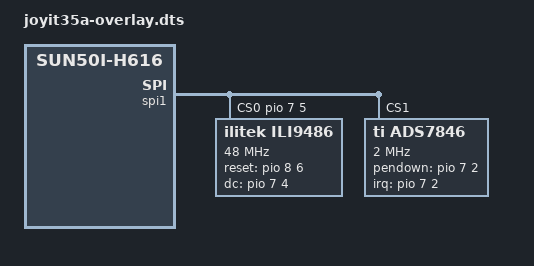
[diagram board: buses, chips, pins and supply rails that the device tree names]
/dts-v1/;
/plugin/;
/ {
    compatible = "allwinner,sun50i-h616";
    fragment@0 {
        target = <&spi1>;
        __overlay__ {
            status = "okay";
	    cs-gpios = <&pio 7 5 0>; /*PH5=CS0 PH9=CS1*/
            ili9486: ili9486@1 {
                compatible = "ilitek,ili9486";
                reg = <0>;
                pinctrl-names = "default";
                spi-max-frequency = <48000000>;
                rotation = <180>;
                bgr = <0>;
                fps = <30>;
                buswidth = <8>;
                reset-gpios = <&pio 8 6 0>; /* PI6 */
                dc-gpios = <&pio 7 4 0>; /* PH4 */
                debug = <0>;
                init = <0x10000b0 0x00 0x1000011 0x20000ff 0x100003a 0x55 0x1000036 0x28 0x10000c2 0x44 0x10000c5 0x00 0x00 0x00 0x00 0x10000e0 0x0f 0x1f 0x1c 0x0c 0x0f 0x08 0x48 0x98 0x37 0x0a 0x13 0x04 0x11 0x0d 0x00 0x10000e1 0x0f 0x32 0x2e 0x0b 0x0d 0x05 0x47 0x75 0x37 0x06 0x10 0x03 0x24 0x20 0x00 0x10000e2 0x0f 0x32 0x2e 0x0b 0x0d 0x05 0x47 0x75 0x37 0x06 0x10 0x03 0x24 0x20 0x00 0x1000036 0x28 0x1000011 0x1000029>;
            };

            ads7846: ads7846@0 {
                compatible = "ti,ads7846";
                reg = <1>;
                pinctrl-names = "default";
                spi-max-frequency = <2000000>;
                interrupts = <7 2 1>; /* PH2 - IRQ */
                interrupt-parent = <&pio>;
                pendown-gpio = <&pio 7 2 0>; /* PH2 */
                
                /* OPTIONS */
                ti,keep-vref-on = <1>;
                ti,pressure-min = /bits/ 16 <10>;
                ti,pressure-max = /bits/ 16 <1000>;
                ti,debounce-rep = /bits/ 16 <1>;
                ti,debounce-tol = /bits/ 16 <2>;
                ti,debounce-max = /bits/ 16 <100>;
                ti,settle-delay-usec = /bits/ 16 <20>;
                ti,penirq-recheck-delay-usecs = /bits/ 16 <20>;
                ti,x-plate-ohms = /bits/ 16 <400>;
                ti,y-plate-ohms = /bits/ 16 <400>;
	    };
        };
    };
};
